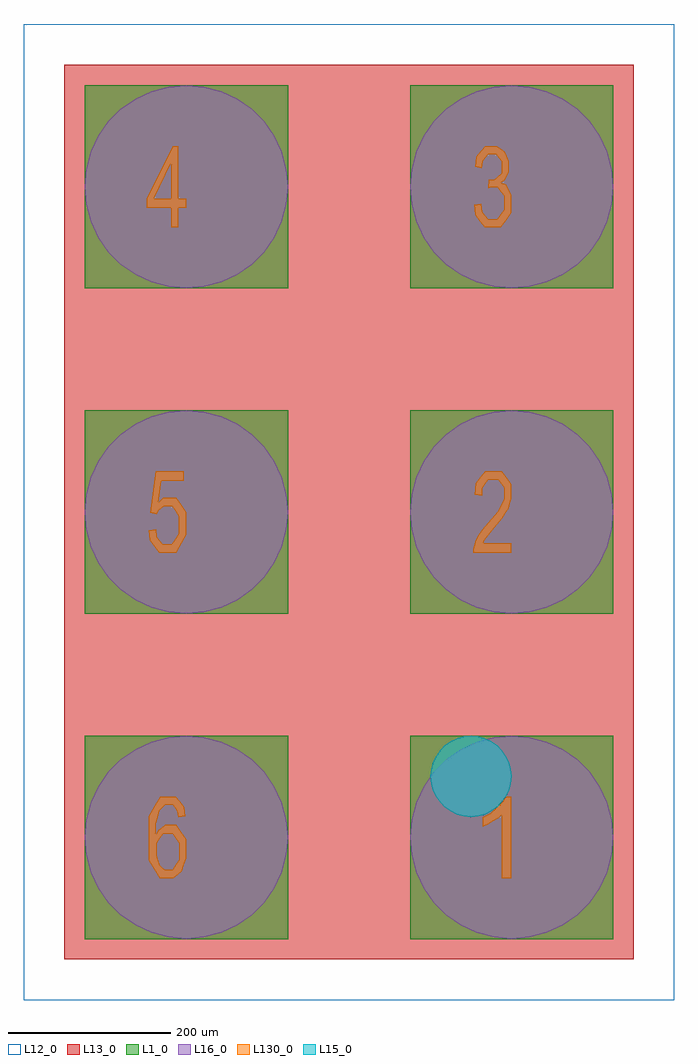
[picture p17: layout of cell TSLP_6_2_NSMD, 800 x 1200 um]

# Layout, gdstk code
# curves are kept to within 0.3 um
import gdstk
lib = gdstk.Library(unit=1e-6, precision=1e-09)
def R(c, l, rs):  # rectangles x0, y0, x1, y1
    for r in rs: c.add(gdstk.rectangle(r[:2], r[2:], *l))
def A(c, l, x, y, w, h, nx, ny, dx, dy):  # array of equal rectangles
    R(c, l, [(x+i*dx, y+j*dy, x+i*dx+w, y+j*dy+h) for i in range(nx) for j in range(ny)])
def P(c, l, *ps):  # polygons
    for p in ps: c.add(gdstk.Polygon(p, *l))
L1_0 = (1, 0)
L12_0 = (12, 0)
L13_0 = (13, 0)
L15_0 = (15, 0)
L16_0 = (16, 0)
L130_0 = (130, 0)

tslp_6_2_nsmd = lib.new_cell('TSLP_6_2_NSMD')
A(tslp_6_2_nsmd, L1_0, -325, -525, 250, 250, 1, 3, 0, 400)
A(tslp_6_2_nsmd, L1_0, 75, -525, 250, 250, 1, 3, 0, 400)
A(tslp_6_2_nsmd, L1_0, -300, -500, 200, 200, 1, 3, 0, 400)
A(tslp_6_2_nsmd, L1_0, 100, -500, 200, 200, 1, 3, 0, 400)
R(tslp_6_2_nsmd, L12_0, [(-400,-600,400,600)])
R(tslp_6_2_nsmd, L13_0, [(-350,-550,350,550)])
P(tslp_6_2_nsmd, L15_0, [(197,-342),(193,-350),(188,-357),(182,-363),(175,-368),(167,-372),(159,-374),(150,-375),(141,-374),(133,-372),(125,-368),(118,-363),(112,-357),(107,-350),(103,-342),(101,-334),(100,-325),(101,-316),(103,-308),(107,-300),(112,-293),(118,-287),(125,-282),(133,-278),(141,-276),(150,-275),(159,-276),(167,-278),(175,-282),(182,-287),(188,-293),(193,-300),(197,-308),(199,-316),(200,-325),(199,-334)])
P(tslp_6_2_nsmd, L16_0, [(325,400),(323.101,378.294),(317.462,357.247),(308.253,337.5),(295.756,319.652),(280.348,304.244),(262.5,291.747),(242.753,282.538),(221.706,276.899),(200,275),(178.294,276.899),(157.247,282.538),(137.5,291.747),(119.652,304.244),(104.244,319.652),(91.747,337.5),(82.538,357.247),(76.899,378.294),(75,400),(76.899,421.706),(82.538,442.753),(91.747,462.5),(104.244,480.348),(119.652,495.756),(137.5,508.253),(157.247,517.462),(178.294,523.101),(200,525),(221.706,523.101),(242.753,517.462),(262.5,508.253),(280.348,495.756),(295.756,480.348),(308.253,462.5),(317.462,442.753),(323.101,421.706)],
  [(-75,400),(-76.899,378.294),(-82.538,357.247),(-91.747,337.5),(-104.244,319.652),(-119.652,304.244),(-137.5,291.747),(-157.247,282.538),(-178.294,276.899),(-200,275),(-221.706,276.899),(-242.753,282.538),(-262.5,291.747),(-280.348,304.244),(-295.756,319.652),(-308.253,337.5),(-317.462,357.247),(-323.101,378.294),(-325,400),(-323.101,421.706),(-317.462,442.753),(-308.253,462.5),(-295.756,480.348),(-280.348,495.756),(-262.5,508.253),(-242.753,517.462),(-221.706,523.101),(-200,525),(-178.294,523.101),(-157.247,517.462),(-137.5,508.253),(-119.652,495.756),(-104.244,480.348),(-91.747,462.5),(-82.538,442.753),(-76.899,421.706)],
  [(-75,0),(-76.899,-21.706),(-82.538,-42.753),(-91.747,-62.5),(-104.244,-80.348),(-119.652,-95.756),(-137.5,-108.253),(-157.247,-117.462),(-178.294,-123.101),(-200,-125),(-221.706,-123.101),(-242.753,-117.462),(-262.5,-108.253),(-280.348,-95.756),(-295.756,-80.348),(-308.253,-62.5),(-317.462,-42.753),(-323.101,-21.706),(-325,0),(-323.101,21.706),(-317.462,42.753),(-308.253,62.5),(-295.756,80.348),(-280.348,95.756),(-262.5,108.253),(-242.753,117.462),(-221.706,123.101),(-200,125),(-178.294,123.101),(-157.247,117.462),(-137.5,108.253),(-119.652,95.756),(-104.244,80.348),(-91.747,62.5),(-82.538,42.753),(-76.899,21.706)],
  [(325,0),(323.101,-21.706),(317.462,-42.753),(308.253,-62.5),(295.756,-80.348),(280.348,-95.756),(262.5,-108.253),(242.753,-117.462),(221.706,-123.101),(200,-125),(178.294,-123.101),(157.247,-117.462),(137.5,-108.253),(119.652,-95.756),(104.244,-80.348),(91.747,-62.5),(82.538,-42.753),(76.899,-21.706),(75,0),(76.899,21.706),(82.538,42.753),(91.747,62.5),(104.244,80.348),(119.652,95.756),(137.5,108.253),(157.247,117.462),(178.294,123.101),(200,125),(221.706,123.101),(242.753,117.462),(262.5,108.253),(280.348,95.756),(295.756,80.348),(308.253,62.5),(317.462,42.753),(323.101,21.706)],
  [(-75,-400),(-76.899,-421.706),(-82.538,-442.753),(-91.747,-462.5),(-104.244,-480.348),(-119.652,-495.756),(-137.5,-508.253),(-157.247,-517.462),(-178.294,-523.101),(-200,-525),(-221.706,-523.101),(-242.753,-517.462),(-262.5,-508.253),(-280.348,-495.756),(-295.756,-480.348),(-308.253,-462.5),(-317.462,-442.753),(-323.101,-421.706),(-325,-400),(-323.101,-378.294),(-317.462,-357.247),(-308.253,-337.5),(-295.756,-319.652),(-280.348,-304.244),(-262.5,-291.747),(-242.753,-282.538),(-221.706,-276.899),(-200,-275),(-178.294,-276.899),(-157.247,-282.538),(-137.5,-291.747),(-119.652,-304.244),(-104.244,-319.652),(-91.747,-337.5),(-82.538,-357.247),(-76.899,-378.294)],
  [(325,-400),(323.101,-421.706),(317.462,-442.753),(308.253,-462.5),(295.756,-480.348),(280.348,-495.756),(262.5,-508.253),(242.753,-517.462),(221.706,-523.101),(200,-525),(178.294,-523.101),(157.247,-517.462),(137.5,-508.253),(119.652,-495.756),(104.244,-480.348),(91.747,-462.5),(82.538,-442.753),(76.899,-421.706),(75,-400),(76.899,-378.294),(82.538,-357.247),(91.747,-337.5),(104.244,-319.652),(119.652,-304.244),(137.5,-291.747),(157.247,-282.538),(178.294,-276.899),(200,-275),(221.706,-276.899),(242.753,-282.538),(262.5,-291.747),(280.348,-304.244),(295.756,-319.652),(308.253,-337.5),(317.462,-357.247),(323.101,-378.294)])
P(tslp_6_2_nsmd, L130_0, [(-209.697,350),(-209.697,373.943),(-200.22,373.943),(-200.22,385.198),(-209.697,385.198),(-209.697,450),(-216.734,450),(-248.755,385.198),(-248.755,373.943),(-218.313,373.943),(-218.313,385.198),(-240.283,385.198),(-218.313,430.286),(-218.313,350)],
  [(165.064,-38.247),(166.513,-34.918),(170.955,-28.329),(188.144,-7.948),(196.207,4.823),(199.684,16.372),(199.684,34.103),(187.806,50),(167.527,50),(155.553,35.258),(154.635,21.196),(163.568,19.905),(163.616,29.28),(171.148,39.878),(183.364,39.878),(190.751,29.891),(190.751,15.693),(182.639,0.136),(163.664,-21.739),(155.794,-34.783),(152.897,-45.584),(152.994,-50),(199.78,-50),(199.78,-38.247)],
  [(-202.506,-362.959),(-213.034,-350),(-232.327,-350),(-246.332,-374.115),(-246.332,-427.889),(-236.471,-444.005),(-236.471,-407.114),(-228.373,-395.424),(-216.702,-395.424),(-208.985,-407.114),(-208.985,-427.822),(-216.797,-440.114),(-225.944,-440.114),(-232.708,-434.168),(-236.471,-422.812),(-236.471,-444.005),(-232.803,-450),(-215.797,-450),(-205.889,-441.583),(-200.22,-425.751),(-200.22,-402.505),(-212.272,-384.803),(-225.753,-384.803),(-234.709,-391.216),(-237.805,-397.829),(-237.71,-383.133),(-233.041,-367.234),(-225.896,-359.886),(-216.702,-359.886),(-211.129,-368.236),(-209.985,-375.317),(-201.459,-374.382)],
  [(-245.149,-34.772),(-233.234,-50),(-212.324,-50),(-200.22,-28.042),(-200.22,-0.306),(-212.653,17.777),(-228.524,17.777),(-234.741,11.523),(-231.02,38.307),(-203.47,38.307),(-203.47,50),(-237.802,50),(-244.49,-1.19),(-236.531,-2.685),(-234.647,1.598),(-228.053,6.968),(-217.363,6.968),(-209.215,-5.133),(-209.215,-26.615),(-217.692,-39.939),(-228.901,-39.939),(-236.107,-30.49),(-237.096,-21.108),(-245.997,-22.196)],
  [(154.949,365.354),(167.085,350),(186.455,350),(199.78,367.824),(199.78,390.12),(192.927,402.737),(186.74,404.74),(191.499,407.811),(196.353,418.224),(196.353,431.242),(191.261,443.124),(181.648,450),(167.656,450),(156.52,436.716),(154.949,424.633),(163.516,422.497),(164.468,431.308),(171.13,440.12),(181.172,440.12),(187.549,431.442),(187.549,416.489),(178.792,408.478),(171.939,408.611),(170.988,398.064),(174.605,399.399),(182.98,399.399),(190.69,388.651),(190.69,371.696),(182.362,359.947),(171.226,359.947),(164.134,368.959),(162.659,379.172),(154.093,377.57)],
  [(199.78,-350),(192.212,-350),(189.145,-356.454),(174.401,-370.177),(164.549,-375),(164.549,-386.821),(170.03,-384.715),(183.796,-376.291),(188.036,-372.079),(188.036,-450),(199.78,-450)])

lib.write_gds('TSLP_6_2_NSMD.gds')
